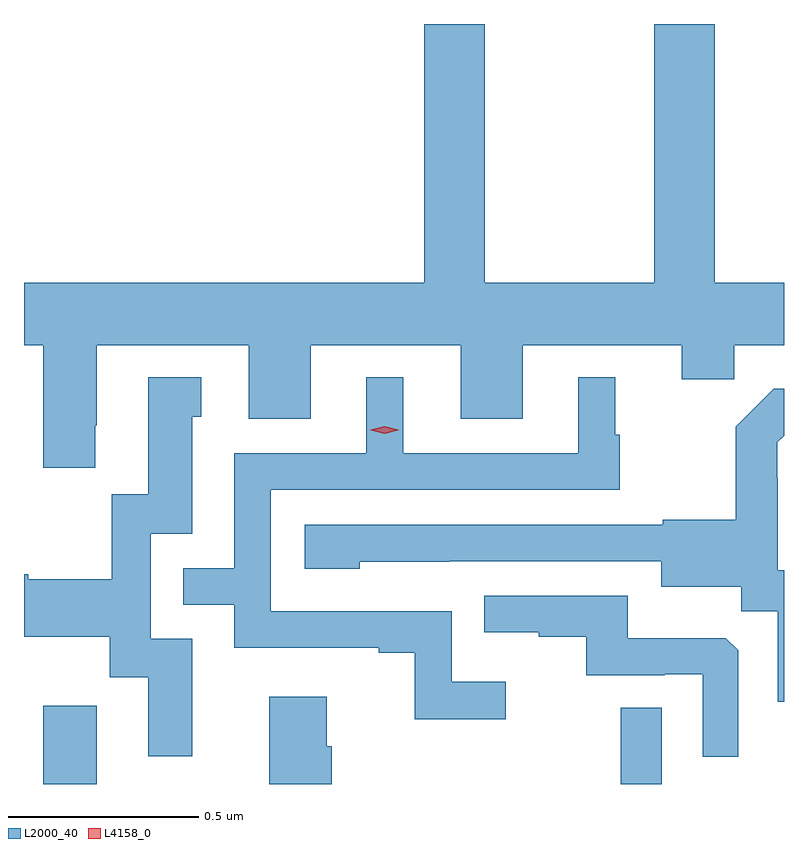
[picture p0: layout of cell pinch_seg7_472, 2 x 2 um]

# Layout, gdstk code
import gdstk
lib = gdstk.Library(unit=1e-6, precision=1e-09)
def R(c, l, rs):  # rectangles x0, y0, x1, y1
    for r in rs: c.add(gdstk.rectangle(r[:2], r[2:], *l))
def P(c, l, *ps):  # polygons
    for p in ps: c.add(gdstk.Polygon(p, *l))
L2000_40 = (2000, 40)
L4158_0 = (4158, 0)

pinch_seg7_472 = lib.new_cell('pinch_seg7_472')
R(pinch_seg7_472, L2000_40, [(243.851,1040.753,243.991,1040.959), (245.37,1040.753,245.478,1040.954)])
P(pinch_seg7_472, L2000_40, [(245.458,1042.072),(245.013,1042.072),(245.013,1042.753),(244.853,1042.753),(244.853,1042.072),(243.8,1042.072),(243.8,1041.908),(243.851,1041.908),(243.851,1041.585),(243.988,1041.585),(243.988,1041.697),(243.991,1041.697),(243.991,1041.908),(244.391,1041.908),(244.391,1041.714),(244.555,1041.714),(244.555,1041.908),(244.949,1041.908),(244.949,1041.714),(245.113,1041.714),(245.113,1041.908),(245.531,1041.908),(245.531,1041.818),(245.669,1041.818),(245.669,1041.908),(245.8,1041.908),(245.8,1042.072),(245.618,1042.072),(245.618,1042.753),(245.458,1042.753)],
  [(244.243,1041.135),(244.134,1041.135),(244.134,1041.411),(244.243,1041.411),(244.243,1041.72),(244.267,1041.72),(244.267,1041.823),(244.127,1041.823),(244.127,1041.516),(244.031,1041.516),(244.031,1041.292),(243.811,1041.292),(243.811,1041.305),(243.8,1041.305),(243.8,1041.14),(244.026,1041.14),(244.026,1041.034),(244.127,1041.034),(244.127,1040.826),(244.243,1040.826)],
  [(245.068,1041.022),(244.926,1041.022),(244.926,1041.207),(244.449,1041.207),(244.449,1041.528),(245.368,1041.528),(245.368,1041.672),(245.356,1041.672),(245.356,1041.823),(245.258,1041.823),(245.258,1041.624),(244.798,1041.624),(244.798,1041.823),(244.7,1041.823),(244.7,1041.624),(244.353,1041.624),(244.353,1041.321),(244.219,1041.321),(244.219,1041.225),(244.353,1041.225),(244.353,1041.111),(244.733,1041.111),(244.733,1041.099),(244.828,1041.099),(244.828,1040.924),(245.068,1040.924)],
  [(245.8,1041.316),(245.784,1041.316),(245.784,1041.557),(245.782,1041.557),(245.782,1041.652),(245.8,1041.67),(245.8,1041.793),(245.773,1041.793),(245.673,1041.693),(245.673,1041.448),(245.481,1041.448),(245.481,1041.435),(244.539,1041.435),(244.539,1041.32),(244.683,1041.32),(244.683,1041.338),(244.919,1041.338),(244.919,1041.339),(245.477,1041.339),(245.477,1041.272),(245.688,1041.272),(245.688,1041.208),(245.783,1041.208),(245.783,1040.97),(245.8,1040.97)],
  [(245.679,1041.105),(245.647,1041.137),(245.389,1041.137),(245.389,1041.249),(245.011,1041.249),(245.011,1041.152),(245.155,1041.152),(245.155,1041.141),(245.279,1041.141),(245.279,1041.039),(245.486,1041.039),(245.486,1041.042),(245.586,1041.042),(245.586,1040.825),(245.679,1040.825)],
  [(244.61,1040.853),(244.597,1040.853),(244.597,1040.983),(244.445,1040.983),(244.445,1040.753),(244.61,1040.753)])
P(pinch_seg7_472, L4158_0, [(244.749,1041.675),(244.713,1041.684),(244.713,1041.685),(244.713,1041.685),(244.749,1041.695),(244.785,1041.685),(244.785,1041.685),(244.785,1041.684)])

lib.write_gds('pinch_seg7_472.gds')
